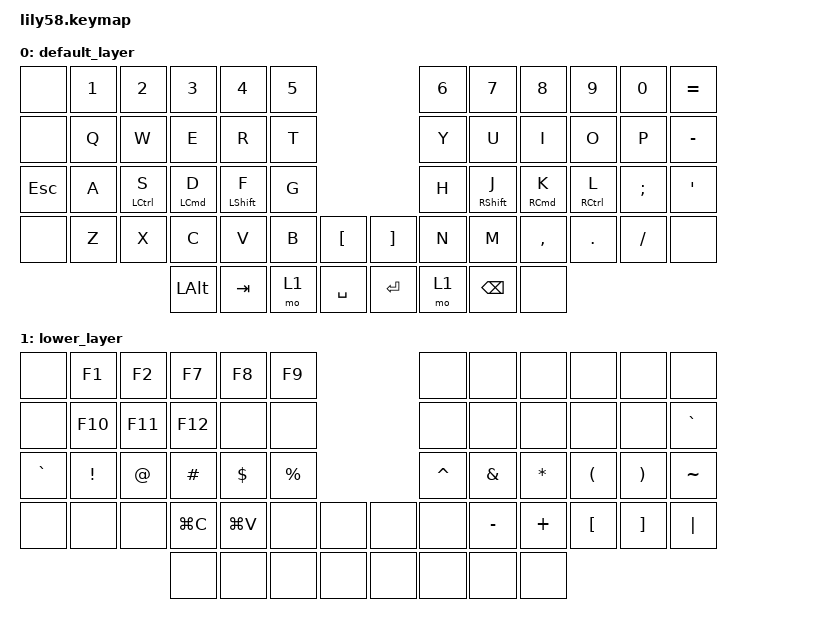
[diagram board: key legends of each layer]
/*
 * Copyright (c) 2020 The ZMK Contributors
 *
 * SPDX-License-Identifier: MIT
 */

#include <behaviors.dtsi>
#include <dt-bindings/zmk/keys.h>

/ {
    combos {
        compatible = "zmk,combos";

        h_left_arrow {
            bindings = <&kp LEFT>;
            key-positions = <50 30>;
        };

        j_down_arrow {
            bindings = <&kp DOWN_ARROW>;
            key-positions = <50 31>;
        };

        k_up_arrow {
            bindings = <&kp UP_ARROW>;
            key-positions = <50 32>;
        };

        l_right_arrow {
            bindings = <&kp RIGHT_ARROW>;
            key-positions = <50 33>;
        };
    };

    behaviors {
        ss_hs_modmorph: ss_hs_modmorph {
            compatible = "zmk,behavior-mod-morph";
            label = "SS_HS_MODMORPH";
            bindings = <&kp M>, <&kp RIGHT_BRACKET>;

            #binding-cells = <0>;
            mods = <(MOD_LSFT|MOD_RSFT)>;
        };

        kh_hs_tapdance: kh_hs_tapdance {
            compatible = "zmk,behavior-tap-dance";
            label = "KH_HS_TAPDANCE";
            #binding-cells = <0>;
            tapping-term-ms = <200>;
            bindings = <&kp LEFT_BRACKET>, <&kp RIGHT_BRACKET>;
        };

        hrm: hrm {
            compatible = "zmk,behavior-hold-tap";
            #binding-cells = <2>;
            flavor = "tap-preferred";
            tapping-term-ms = <200>;
            quick-tap-ms = <200>;
            require-prior-idle-ms = <125>;
            bindings = <&kp>, <&kp>;
        };

        timeless: timeless {
            compatible = "zmk,behavior-hold-tap";
            label = "TIMELESS";
            bindings = <&kp>, <&kp>;

            #binding-cells = <2>;
            tapping-term-ms = <280>;
            quick-tap-ms = <175>;
            require-prior-idle-ms = <150>;
            flavor = "balanced";
            hold-trigger-on-release;
        };
    };

    keymap {
        compatible = "zmk,keymap";

        default_layer {
            // ------------------------------------------------------------------------------------------------------------
            // |  ESC  |  1  |  2  |  3   |  4   |  5   |                   |  6   |  7    |  8    |  9   |   0   |   `   |
            // |  TAB  |  Q  |  W  |  E   |  R   |  T   |                   |  Y   |  U    |  I    |  O   |   P   |   -   |
            // |  CTRL |  A  |  S  |  D   |  F   |  G   |                   |  H   |  J    |  K    |  L   |   ;   |   '   |
            // | SHIFT |  Z  |  X  |  C   |  V   |  B   |   "["  |  |  "]"  |  N   |  M    |  ,    |  .   |   /   | SHIFT |
            //                     | ALT  | GUI  | LOWER|  SPACE |  | ENTER | RAISE| BSPC  | GUI   |

            bindings = <
&none       &kp N1  &kp N2             &kp N3                    &kp N4                  &kp N5                         &kp N6  &kp N7                   &kp N8                     &kp N9             &kp N0    &kp EQUAL
&none       &kp Q   &kp W              &kp E                     &kp R                   &kp T                          &kp Y   &kp U                    &kp I                      &kp O              &kp P     &kp MINUS
&kp ESCAPE  &kp A   &timeless LCTRL S  &timeless LEFT_COMMAND D  &timeless LEFT_SHIFT F  &kp G                          &kp H   &timeless RIGHT_SHIFT J  &timeless RIGHT_COMMAND K  &timeless RCTRL L  &kp SEMI  &kp SQT
&none       &kp Z   &kp X              &kp C                     &kp V                   &kp B   &kp LBKT     &kp RBKT  &kp N   &kp M                    &kp COMMA                  &kp DOT            &kp FSLH  &none
                                       &kp LEFT_ALT              &kp TAB                 &mo 1   &kp SPACE    &kp RET   &mo 1   &kp BSPC                 &none
            >;
        };

        lower_layer {
            // ------------------------------------------------------------------------------------------------------------
            // | BTCLR | BT1 | BT2 |  BT3 |  BT4 |  BT5 |                   |      |       |       |      |       |       |
            // |  F1   |  F2 |  F3 |  F4  |  F5  |  F6  |                   |  F7  |  F8   |  F9   |  F10 |  F11  |  F12  |
            // |   `   |  !  |  @  |  #   |  $   |  %   |                   |  ^   |  &    |  *    |  (   |   )   |   ~   |
            // |       |     |     |      |      |      |        |  |       |      |  _    |  +    |  {   |   }   |  "|"  |
            //                     |      |      |      |        |  |       |      |       |       |

            bindings = <
&none      &kp F1    &kp F2   &kp F7     &kp F8      &kp F9                     &none      &none      &none      &none             &none              &none
&none      &kp F10   &kp F11  &kp F12    &none       &none                      &none      &none      &none      &none             &none              &kp GRAVE
&kp GRAVE  &kp EXCL  &kp AT   &kp HASH   &kp DOLLAR  &kp PRCNT                  &kp CARET  &kp AMPS   &kp ASTRK  &kp LPAR          &kp RPAR           &kp TILDE
&none      &none     &none    &kp LG(C)  &kp LG(V)   &none      &none    &none  &none      &kp MINUS  &kp PLUS   &kp LEFT_BRACKET  &kp RIGHT_BRACKET  &kp PIPE
                              &none      &none       &none      &none    &none  &none      &none      &none
            >;
        };
    };
};
